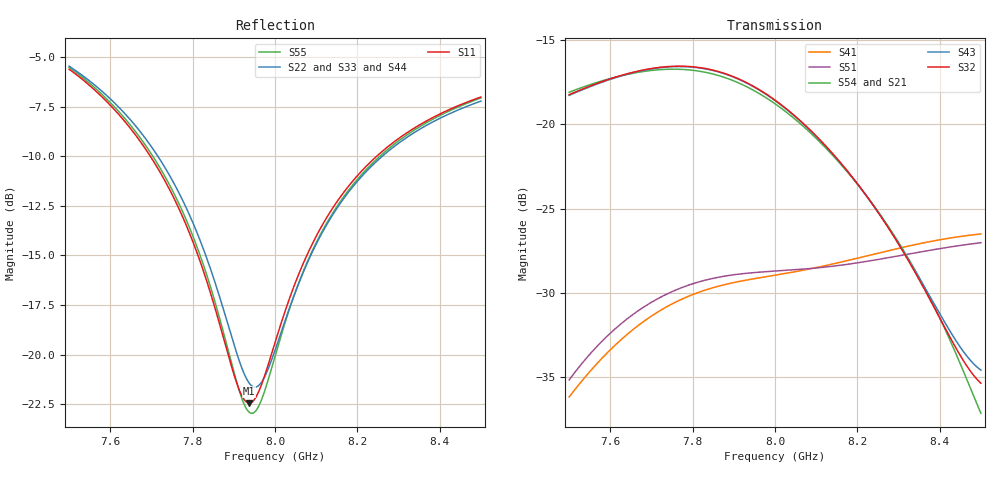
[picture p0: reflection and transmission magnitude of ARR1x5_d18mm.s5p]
! Touchstone file exported from HFSS 2025.1.0
!  File:  C:/Users/user/Documents/Ansoft/TFG_UWB-MIMO-Array.aedt
!  Generated:  06:37:36 PM Nov 20, 2026
!  Design:  ARR1x5_P01_MS2_dparam
!  Project:  TFG_UWB-MIMO-Array
!  Setup:  Setup_ch9
!  Solution:  Sweep_7p5_8p5
! Variables:
!  arr_d = 18mm
!  board_m = 13mm
!  board_x = 98mm
!  board_y = 26mm
!  cu_t = 0.035mm
!  line_w = 3.92mm
!  pad_xy = 22mm
!  pad_zn = 25mm
!  pad_zp = 33mm
!  patch_L = 7.322mm
!  patch_W = 11.421266mm
!  sub_h = 2.07mm
!  tr_l = 7.1mm
!  tr_w = 0.8mm
# GHz S MA R 50.000000
! Terminal data exported
! Port[1] = P1
! Port[2] = P2
! Port[3] = P3
! Port[4] = P4
! Port[5] = P5
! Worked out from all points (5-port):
!   1001 points, 7.5 GHz to 8.5 GHz, reference 50 ohm
!   strongest paths, dB at 7.5 GHz, 7.75 GHz, 8 GHz, 8.25 GHz, 8.5 GHz:
!     S32: -18.2, -16.6, -18.6, -25.2, -35.4
!     S43: -18.3, -16.6, -18.6, -25.2, -34.6
!     S54: -18.1, -16.7, -18.8, -25.2, -37.1
!     S21: -18.1, -16.8, -18.8, -25.3, -37.2
!     S51: -35.2, -29.9, -28.7, -28.0, -27.0
!     S41: -36.2, -30.6, -28.9, -27.6, -26.5
!   lowest |S11| = -22.5 dB at 7.937 GHz (marker M1), VSWR 1.16, Z = 57.6 + j2.9 ohm
!   |S11| at or under -10 dB: 7.697 GHz to 8.247 GHz (549.6 MHz wide, 6.89 % of centre)
